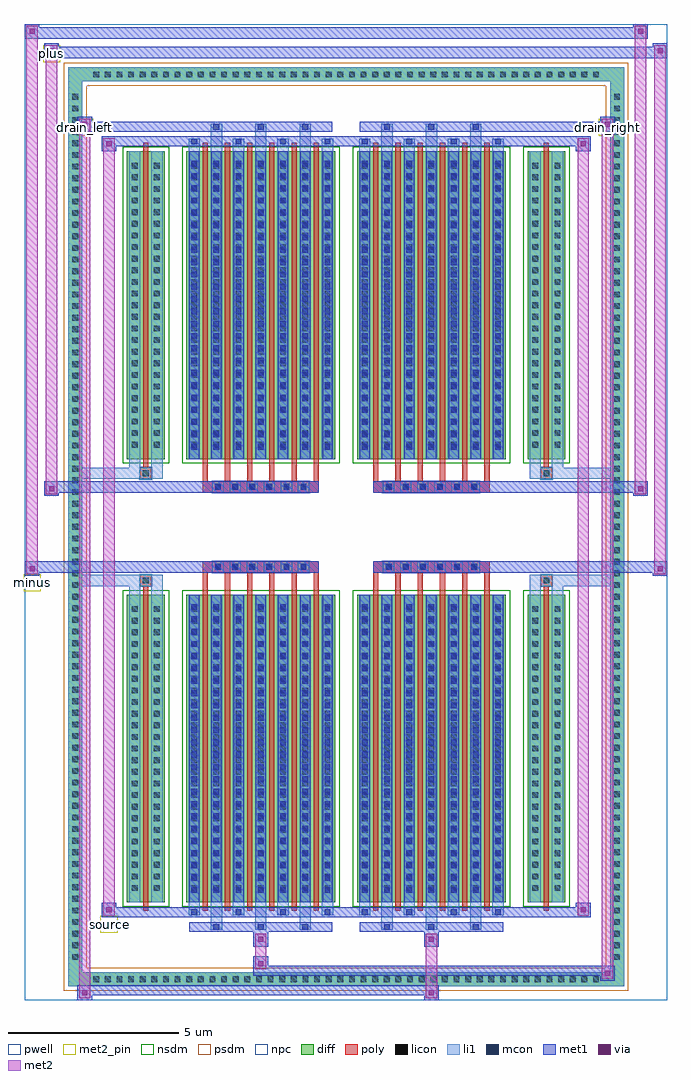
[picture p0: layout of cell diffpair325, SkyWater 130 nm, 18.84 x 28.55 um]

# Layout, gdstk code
import gdstk
lib = gdstk.Library(unit=1e-6, precision=5e-09)
def R(c, l, rs):  # rectangles x0, y0, x1, y1
    for r in rs: c.add(gdstk.rectangle(r[:2], r[2:], *l))
def A(c, l, x, y, w, h, nx, ny, dx, dy):  # array of equal rectangles
    R(c, l, [(x+i*dx, y+j*dy, x+i*dx+w, y+j*dy+h) for i in range(nx) for j in range(ny)])
def P(c, l, *ps):  # polygons
    for p in ps: c.add(gdstk.Polygon(p, *l))
pwell = (64, 44)
diff = (65, 20)
poly = (66, 20)
licon = (66, 44)
li1 = (67, 20)
mcon = (67, 44)
met1 = (68, 20)
via = (68, 44)
met2_pin = (69, 16)
met2 = (69, 20)
nsdm = (93, 44)
psdm = (94, 20)
npc = (95, 20)

diffpair325 = lib.new_cell('diffpair325')
R(diffpair325, pwell, [(-9.4,-13.84,9.4,14.71), (-6.72,-12.03,-0.01,-0.805), (0.01,-12.03,6.72,-0.805), (-6.72,0.805,-0.01,12.03), (0.01,0.805,6.72,12.03)])
A(diffpair325, diff, -7.515, -13.44, 0.41, 0.41, 44, 2, 0.34, 26.47)
A(diffpair325, diff, -8.13, -12.785, 0.41, 0.41, 1, 75, 0, 0.34)
A(diffpair325, diff, 7.72, -12.785, 0.41, 0.41, 1, 75, 0, 0.34)
R(diffpair325, diff, [(-7.515,-13.44,7.515,-13.03), (-8.13,-12.785,-7.72,12.785), (7.72,-12.785,8.13,12.785), (-6.41,-10.985,-5.31,-1.985), (-4.67,-10.985,-0.32,-1.985), (0.32,-10.985,4.67,-1.985), (5.31,-10.985,6.41,-1.985), (-6.41,1.985,-5.31,10.985), (-4.67,1.985,-0.32,10.985), (0.32,1.985,4.67,10.985), (5.31,1.985,6.41,10.985), (-7.515,13.03,7.515,13.44)])
P(diffpair325, diff, [(8.13,13.44),(-8.13,13.44),(-8.13,-13.03),(-7.72,-13.03),(-7.72,13.03),(7.72,13.03),(7.72,-13.03),(-7.72,-13.03),(-8.13,-13.03),(-8.13,-13.44),(8.13,-13.44)])
A(diffpair325, poly, -4.195, -11.235, 0.15, 9.5, 6, 2, 0.65, 12.97)
A(diffpair325, poly, 0.795, -11.235, 0.15, 9.5, 6, 2, 0.65, 12.97)
A(diffpair325, poly, -4.195, -1.735, 0.15, 0.4, 6, 2, 0.65, 3.07)
A(diffpair325, poly, 0.795, -1.735, 0.15, 0.4, 6, 2, 0.65, 3.07)
A(diffpair325, poly, -3.91, -1.335, 0.33, 0.33, 6, 2, 0.5, 2.34)
A(diffpair325, poly, 1.08, -1.335, 0.33, 0.33, 6, 2, 0.5, 2.34)
R(diffpair325, poly, [(-5.935,-11.235,-5.785,-1.735), (5.785,-11.235,5.935,-1.735), (-6.025,-1.735,-5.695,-1.405), (-6.025,-1.735,-5.695,-1.405), (5.695,-1.735,6.025,-1.405), (5.695,-1.735,6.025,-1.405), (-4.195,-1.335,-0.795,-1.005), (0.795,-1.335,4.195,-1.005), (-4.195,1.005,-0.795,1.335), (0.795,1.005,4.195,1.335), (-6.025,1.405,-5.695,1.735), (-6.025,1.405,-5.695,1.735), (5.695,1.405,6.025,1.735), (5.695,1.405,6.025,1.735), (-5.935,1.735,-5.785,11.235), (5.785,1.735,5.935,11.235)])
A(diffpair325, licon, -7.395, -13.32, 0.17, 0.17, 44, 2, 0.34, 26.47)
A(diffpair325, licon, -8.01, -12.665, 0.17, 0.17, 1, 75, 0, 0.34)
A(diffpair325, licon, 7.84, -12.665, 0.17, 0.17, 1, 75, 0, 0.34)
A(diffpair325, licon, -6.27, -10.65, 0.17, 0.17, 1, 25, 0, 0.34)
A(diffpair325, licon, -5.62, -10.65, 0.17, 0.17, 1, 25, 0, 0.34)
A(diffpair325, licon, -4.53, -10.65, 0.17, 0.17, 7, 25, 0.65, 0.34)
A(diffpair325, licon, 0.46, -10.65, 0.17, 0.17, 7, 25, 0.65, 0.34)
A(diffpair325, licon, 5.45, -10.65, 0.17, 0.17, 1, 25, 0, 0.34)
A(diffpair325, licon, 6.1, -10.65, 0.17, 0.17, 1, 25, 0, 0.34)
A(diffpair325, licon, -3.83, -1.255, 0.17, 0.17, 6, 2, 0.5, 2.34)
A(diffpair325, licon, 1.16, -1.255, 0.17, 0.17, 6, 2, 0.5, 2.34)
A(diffpair325, licon, -6.27, 2.32, 0.17, 0.17, 1, 25, 0, 0.34)
A(diffpair325, licon, -5.62, 2.32, 0.17, 0.17, 1, 25, 0, 0.34)
A(diffpair325, licon, -4.53, 2.32, 0.17, 0.17, 7, 25, 0.65, 0.34)
A(diffpair325, licon, 0.46, 2.32, 0.17, 0.17, 7, 25, 0.65, 0.34)
A(diffpair325, licon, 5.45, 2.32, 0.17, 0.17, 1, 25, 0, 0.34)
A(diffpair325, licon, 6.1, 2.32, 0.17, 0.17, 1, 25, 0, 0.34)
R(diffpair325, licon, [(-5.945,-1.655,-5.775,-1.485), (5.775,-1.655,5.945,-1.485), (-5.945,1.485,-5.775,1.655), (5.775,1.485,5.945,1.655)])
A(diffpair325, li1, -7.475, -13.4, 0.33, 0.33, 44, 2, 0.34, 26.47)
A(diffpair325, li1, -8.09, -12.745, 0.33, 0.33, 1, 75, 0, 0.34)
A(diffpair325, li1, 7.76, -12.745, 0.33, 0.33, 1, 75, 0, 0.34)
A(diffpair325, li1, -3.96, -11.79, 0.33, 0.805, 3, 2, 1.3, 22.775)
A(diffpair325, li1, -3.88, -11.79, 0.17, 0.17, 3, 2, 1.3, 23.41)
A(diffpair325, li1, 1.03, -11.79, 0.33, 0.805, 3, 2, 1.3, 22.775)
A(diffpair325, li1, 1.11, -11.79, 0.17, 0.17, 3, 2, 1.3, 23.41)
A(diffpair325, li1, -4.61, -11.36, 0.33, 0.375, 4, 2, 1.3, 22.345)
A(diffpair325, li1, -4.53, -11.36, 0.17, 0.17, 4, 2, 1.3, 22.55)
A(diffpair325, li1, 0.38, -11.36, 0.33, 0.375, 4, 2, 1.3, 22.345)
A(diffpair325, li1, 0.46, -11.36, 0.17, 0.17, 4, 2, 1.3, 22.55)
A(diffpair325, li1, -4.61, -10.985, 0.33, 9, 7, 2, 0.65, 12.97)
A(diffpair325, li1, 0.38, -10.985, 0.33, 9, 7, 2, 0.65, 12.97)
A(diffpair325, li1, -6.35, -10.73, 0.33, 0.33, 1, 25, 0, 0.34)
A(diffpair325, li1, -5.7, -10.73, 0.33, 0.33, 1, 25, 0, 0.34)
A(diffpair325, li1, -4.61, -10.73, 0.33, 0.33, 7, 25, 0.65, 0.34)
A(diffpair325, li1, 0.38, -10.73, 0.33, 0.33, 7, 25, 0.65, 0.34)
A(diffpair325, li1, 5.37, -10.73, 0.33, 0.33, 1, 25, 0, 0.34)
A(diffpair325, li1, 6.02, -10.73, 0.33, 0.33, 1, 25, 0, 0.34)
A(diffpair325, li1, -4.53, -10.71, 0.17, 0.17, 7, 24, 0.65, 0.36)
A(diffpair325, li1, -4.53, -10.71, 0.17, 8.45, 7, 2, 0.65, 12.97)
A(diffpair325, li1, 0.46, -10.71, 0.17, 0.17, 7, 24, 0.65, 0.36)
A(diffpair325, li1, 0.46, -10.71, 0.17, 8.45, 7, 2, 0.65, 12.97)
A(diffpair325, li1, -3.91, -1.335, 0.33, 0.33, 6, 2, 0.5, 2.34)
A(diffpair325, li1, 1.08, -1.335, 0.33, 0.33, 6, 2, 0.5, 2.34)
A(diffpair325, li1, -6.35, 2.24, 0.33, 0.33, 1, 25, 0, 0.34)
A(diffpair325, li1, -5.7, 2.24, 0.33, 0.33, 1, 25, 0, 0.34)
A(diffpair325, li1, -4.61, 2.24, 0.33, 0.33, 7, 25, 0.65, 0.34)
A(diffpair325, li1, 0.38, 2.24, 0.33, 0.33, 7, 25, 0.65, 0.34)
A(diffpair325, li1, 5.37, 2.24, 0.33, 0.33, 1, 25, 0, 0.34)
A(diffpair325, li1, 6.02, 2.24, 0.33, 0.33, 1, 25, 0, 0.34)
A(diffpair325, li1, -4.53, 2.26, 0.17, 0.17, 7, 24, 0.65, 0.36)
A(diffpair325, li1, 0.46, 2.26, 0.17, 0.17, 7, 24, 0.65, 0.36)
R(diffpair325, li1, [(-8.13,-13.44,-7.72,-13.03), (-8.13,-13.44,-7.72,-13.03), (-7.72,-13.44,7.72,-13.03), (7.72,-13.44,8.13,-13.03), (7.72,-13.44,8.13,-13.03), (-8.13,-13.03,-7.72,13.03), (7.72,-13.03,8.13,13.03), (-6.35,-10.985,-6.02,-1.985), (-5.7,-10.985,-5.37,-1.985), (5.37,-10.985,5.7,-1.985), (6.02,-10.985,6.35,-1.985), (-6.35,-1.985,-6.02,-1.405), (-5.7,-1.985,-5.37,-1.405), (5.37,-1.985,5.7,-1.405), (6.02,-1.985,6.35,-1.405), (-8.13,-1.735,-6.025,-1.405), (-6.35,-1.735,-6.025,-1.405), (-6.025,-1.735,-5.695,-1.405), (-5.695,-1.735,-5.37,-1.405), (5.37,-1.735,5.695,-1.405), (5.695,-1.735,6.025,-1.405), (5.695,-1.735,8.13,-1.405), (6.025,-1.735,6.35,-1.405), (-8.13,1.405,-6.025,1.735), (-6.35,1.405,-6.025,1.735), (-6.35,1.405,-6.02,1.985), (-6.025,1.405,-5.695,1.735), (-5.7,1.405,-5.37,1.985), (-5.695,1.405,-5.37,1.735), (5.37,1.405,5.695,1.735), (5.37,1.405,5.7,1.985), (5.695,1.405,6.025,1.735), (5.695,1.405,8.13,1.735), (6.02,1.405,6.35,1.985), (6.025,1.405,6.35,1.735), (-6.35,1.985,-6.02,10.985), (-5.7,1.985,-5.37,10.985), (5.37,1.985,5.7,10.985), (6.02,1.985,6.35,10.985), (-8.13,13.03,-7.72,13.44), (-8.13,13.03,-7.72,13.44), (-7.72,13.03,7.72,13.44), (7.72,13.03,8.13,13.44), (7.72,13.03,8.13,13.44)])
A(diffpair325, mcon, -3.88, -11.79, 0.17, 0.17, 3, 2, 1.3, 23.41)
A(diffpair325, mcon, 1.11, -11.79, 0.17, 0.17, 3, 2, 1.3, 23.41)
A(diffpair325, mcon, -4.53, -11.36, 0.17, 0.17, 4, 2, 1.3, 22.55)
A(diffpair325, mcon, 0.46, -11.36, 0.17, 0.17, 4, 2, 1.3, 22.55)
A(diffpair325, mcon, -4.53, -10.71, 0.17, 0.17, 7, 24, 0.65, 0.36)
A(diffpair325, mcon, 0.46, -10.71, 0.17, 0.17, 7, 24, 0.65, 0.36)
A(diffpair325, mcon, -3.83, -1.255, 0.17, 0.17, 6, 2, 0.5, 2.34)
A(diffpair325, mcon, 1.16, -1.255, 0.17, 0.17, 6, 2, 0.5, 2.34)
A(diffpair325, mcon, -4.53, 2.26, 0.17, 0.17, 7, 24, 0.65, 0.36)
A(diffpair325, mcon, 0.46, 2.26, 0.17, 0.17, 7, 24, 0.65, 0.36)
A(diffpair325, met1, -3.94, -11.85, 0.29, 0.29, 3, 2, 1.3, 23.41)
A(diffpair325, met1, 1.05, -11.85, 0.29, 0.29, 3, 2, 1.3, 23.41)
A(diffpair325, met1, -4.59, -11.42, 0.29, 0.29, 4, 2, 1.3, 22.55)
A(diffpair325, met1, 0.4, -11.42, 0.29, 0.29, 4, 2, 1.3, 22.55)
A(diffpair325, met1, -4.59, -10.985, 0.29, 9, 7, 2, 0.65, 12.97)
A(diffpair325, met1, 0.4, -10.985, 0.29, 9, 7, 2, 0.65, 12.97)
A(diffpair325, met1, -4.59, -10.77, 0.29, 0.29, 7, 24, 0.65, 0.36)
A(diffpair325, met1, 0.4, -10.77, 0.29, 0.29, 7, 24, 0.65, 0.36)
A(diffpair325, met1, -3.89, -1.315, 0.29, 0.29, 6, 2, 0.5, 2.34)
A(diffpair325, met1, 1.1, -1.315, 0.29, 0.29, 6, 2, 0.5, 2.34)
A(diffpair325, met1, -4.59, 2.2, 0.29, 0.29, 7, 24, 0.65, 0.36)
A(diffpair325, met1, 0.4, 2.2, 0.29, 0.29, 7, 24, 0.65, 0.36)
R(diffpair325, met1, [(-7.86,-13.84,-7.43,-13.41), (2.28,-13.84,2.71,-13.41), (-7.86,-13.7,2.71,-13.41), (7.43,-13.27,7.86,-12.84), (-2.71,-13.13,7.86,-12.84), (-2.71,-12.99,-2.28,-12.56), (-2.71,-12.28,-2.28,-11.85), (2.28,-12.28,2.71,-11.85), (-4.59,-11.85,-0.4,-11.56), (0.4,-11.85,4.59,-11.56), (-7.15,-11.42,-6.72,-10.99), (-7.15,-11.42,-4.59,-11.13), (-4.59,-11.42,-0.4,-11.13), (-0.4,-11.42,0.4,-11.13), (0.4,-11.42,4.59,-11.13), (4.59,-11.42,7.15,-11.13), (6.72,-11.42,7.15,-10.99), (-9.4,-1.435,-8.97,-1.005), (8.97,-1.435,9.4,-1.005), (-9.4,-1.335,-0.795,-1.005), (-4.195,-1.335,-0.795,-1.005), (0.795,-1.335,4.195,-1.005), (0.795,-1.335,9.4,-1.005), (-8.83,0.905,-8.4,1.335), (8.4,0.905,8.83,1.335), (-8.83,1.005,-4.195,1.335), (-4.195,1.005,-0.795,1.335), (0.795,1.005,4.195,1.335), (4.195,1.005,8.83,1.335), (-7.15,10.99,-6.72,11.42), (6.72,10.99,7.15,11.42), (-7.15,11.13,-4.59,11.42), (-4.59,11.13,-0.4,11.42), (-0.4,11.13,0.4,11.42), (0.4,11.13,4.59,11.42), (4.59,11.13,7.15,11.42), (-7.86,11.56,-7.43,11.99), (-7.86,11.56,-4.59,11.85), (-4.59,11.56,-0.4,11.85), (0.4,11.56,4.59,11.85), (4.59,11.56,7.86,11.85), (7.43,11.56,7.86,11.99), (-8.83,13.71,-8.4,14.14), (-8.83,13.71,-6.72,14.04), (-6.72,13.71,6.72,14.04), (6.72,13.71,9.4,14.04), (8.97,13.71,9.4,14.14), (-9.4,14.28,-8.97,14.71), (-9.4,14.28,-6.72,14.61), (-6.72,14.28,6.72,14.61), (6.72,14.28,8.83,14.61), (8.4,14.28,8.83,14.71)])
R(diffpair325, via, [(-7.72,-13.7,-7.57,-13.55), (2.42,-13.7,2.57,-13.55), (7.57,-13.13,7.72,-12.98), (-2.57,-12.85,-2.42,-12.7), (-2.57,-12.14,-2.42,-11.99), (2.42,-12.14,2.57,-11.99), (-7.01,-11.28,-6.86,-11.13), (6.86,-11.28,7.01,-11.13), (-9.26,-1.295,-9.11,-1.145), (9.11,-1.295,9.26,-1.145), (-8.69,1.045,-8.54,1.195), (8.54,1.045,8.69,1.195), (-7.01,11.13,-6.86,11.28), (6.86,11.13,7.01,11.28), (-7.72,11.7,-7.57,11.85), (7.57,11.7,7.72,11.85), (-8.69,13.85,-8.54,14), (9.11,13.85,9.26,14), (-9.26,14.42,-9.11,14.57), (8.54,14.42,8.69,14.57)])
R(diffpair325, met2_pin, [(-7.185,-11.87,-6.685,-11.37), (-9.435,-1.885,-8.935,-1.385), (-7.895,11.44,-7.395,11.94), (7.395,11.44,7.895,11.94), (-8.865,13.59,-8.365,14.09)])
R(diffpair325, met2, [(-7.81,-13.79,-7.48,-13.46), (-7.81,-13.79,-7.48,11.94), (2.33,-13.79,2.66,-13.46), (2.33,-13.46,2.66,-12.23), (7.48,-13.22,7.81,-12.89), (7.48,-13.22,7.81,11.94), (-2.66,-12.94,-2.33,-12.61), (-2.66,-12.61,-2.33,-12.23), (-2.66,-12.23,-2.33,-11.9), (2.33,-12.23,2.66,-11.9), (-7.1,-11.37,-6.77,-11.04), (-7.1,-11.37,-6.77,11.37), (6.77,-11.37,7.1,-11.04), (6.77,-11.37,7.1,11.37), (-9.35,-1.385,-9.02,-1.055), (-9.35,-1.385,-9.02,14.66), (9.02,-1.385,9.35,-1.055), (9.02,-1.385,9.35,14.09), (-8.78,0.955,-8.45,1.285), (-8.78,0.955,-8.45,14.09), (8.45,0.955,8.78,1.285), (8.45,0.955,8.78,14.66), (-7.1,11.04,-6.77,11.37), (6.77,11.04,7.1,11.37), (-7.81,11.61,-7.48,11.94), (7.48,11.61,7.81,11.94), (-8.78,13.76,-8.45,14.09), (9.02,13.76,9.35,14.09), (-9.35,14.33,-9.02,14.66), (8.45,14.33,8.78,14.66)])
P(diffpair325, met2, [(9.35,-1.385),(9.35,-1.385),(9.35,-1.055),(9.35,-1.055)],
  [(9.35,13.76),(9.35,13.76),(9.35,14.09),(9.35,14.09)],
  [(-9.02,-1.385),(-9.02,-1.385),(-9.02,-1.055),(-9.02,-1.055)],
  [(-9.02,14.33),(-9.02,14.33),(-9.02,14.66),(-9.02,14.66)],
  [(8.78,0.955),(8.78,0.955),(8.78,1.285),(8.78,1.285)],
  [(8.78,14.33),(8.78,14.33),(8.78,14.66),(8.78,14.66)],
  [(-8.45,0.955),(-8.45,0.955),(-8.45,1.285),(-8.45,1.285)],
  [(-8.45,13.76),(-8.45,13.76),(-8.45,14.09),(-8.45,14.09)],
  [(-7.48,-13.79),(-7.48,-13.79),(-7.48,-13.46),(-7.48,-13.46)],
  [(-7.48,11.61),(-7.48,11.61),(-7.48,11.94),(-7.48,11.94)],
  [(7.81,-13.22),(7.81,-13.22),(7.81,-12.89),(7.81,-12.89)],
  [(7.81,11.61),(7.81,11.61),(7.81,11.94),(7.81,11.94)],
  [(-6.77,-11.37),(-6.77,-11.37),(-6.77,-11.04),(-6.77,-11.04)],
  [(-6.77,11.04),(-6.77,11.04),(-6.77,11.37),(-6.77,11.37)],
  [(7.1,-11.37),(7.1,-11.37),(7.1,-11.04),(7.1,-11.04)],
  [(7.1,11.04),(7.1,11.04),(7.1,11.37),(7.1,11.37)])
R(diffpair325, nsdm, [(-6.54,-11.115,-5.18,-1.855), (-4.8,-11.115,-0.19,-1.855), (0.19,-11.115,4.8,-1.855), (5.18,-11.115,6.54,-1.855), (-6.54,1.855,-5.18,11.115), (-4.8,1.855,-0.19,11.115), (0.19,1.855,4.8,11.115), (5.18,1.855,6.54,11.115)])
P(diffpair325, psdm, [(8.26,13.57),(-8.26,13.57),(-8.26,-12.9),(-7.59,-12.9),(-7.59,12.9),(7.59,12.9),(7.59,-12.9),(-7.59,-12.9),(-8.26,-12.9),(-8.26,-13.57),(8.26,-13.57)])
A(diffpair325, npc, -3.93, -1.355, 0.37, 0.37, 6, 2, 0.5, 2.34)
A(diffpair325, npc, 1.06, -1.355, 0.37, 0.37, 6, 2, 0.5, 2.34)
R(diffpair325, npc, [(-6.045,-1.755,-5.675,-1.385), (5.675,-1.755,6.045,-1.385), (-3.93,-1.355,-3.06,-0.985), (-3.93,-1.355,-3.06,-0.985), (-3.43,-1.355,-2.56,-0.985), (-3.43,-1.355,-2.56,-0.985), (-2.93,-1.355,-2.06,-0.985), (-2.93,-1.355,-2.06,-0.985), (-2.43,-1.355,-1.56,-0.985), (-2.43,-1.355,-1.56,-0.985), (-1.93,-1.355,-1.06,-0.985), (-1.93,-1.355,-1.06,-0.985), (1.06,-1.355,1.93,-0.985), (1.06,-1.355,1.93,-0.985), (1.56,-1.355,2.43,-0.985), (1.56,-1.355,2.43,-0.985), (2.06,-1.355,2.93,-0.985), (2.06,-1.355,2.93,-0.985), (2.56,-1.355,3.43,-0.985), (2.56,-1.355,3.43,-0.985), (3.06,-1.355,3.93,-0.985), (3.06,-1.355,3.93,-0.985), (-3.93,0.985,-3.06,1.355), (-3.93,0.985,-3.06,1.355), (-3.43,0.985,-2.56,1.355), (-3.43,0.985,-2.56,1.355), (-2.93,0.985,-2.06,1.355), (-2.93,0.985,-2.06,1.355), (-2.43,0.985,-1.56,1.355), (-2.43,0.985,-1.56,1.355), (-1.93,0.985,-1.06,1.355), (-1.93,0.985,-1.06,1.355), (1.06,0.985,1.93,1.355), (1.06,0.985,1.93,1.355), (1.56,0.985,2.43,1.355), (1.56,0.985,2.43,1.355), (2.06,0.985,2.93,1.355), (2.06,0.985,2.93,1.355), (2.56,0.985,3.43,1.355), (2.56,0.985,3.43,1.355), (3.06,0.985,3.93,1.355), (3.06,0.985,3.93,1.355), (-6.045,1.385,-5.675,1.755), (5.675,1.385,6.045,1.755)])
diffpair325.add(gdstk.Label('minus', (-9.185,-1.635), layer=69, texttype=5))
diffpair325.add(gdstk.Label('drain_right', (7.645,11.69), layer=69, texttype=5))
diffpair325.add(gdstk.Label('drain_left', (-7.645,11.69), layer=69, texttype=5))
diffpair325.add(gdstk.Label('source', (-6.935,-11.62), layer=69, texttype=5))
diffpair325.add(gdstk.Label('plus', (-8.615,13.84), layer=69, texttype=5))

lib.write_gds('diffpair325.gds')
